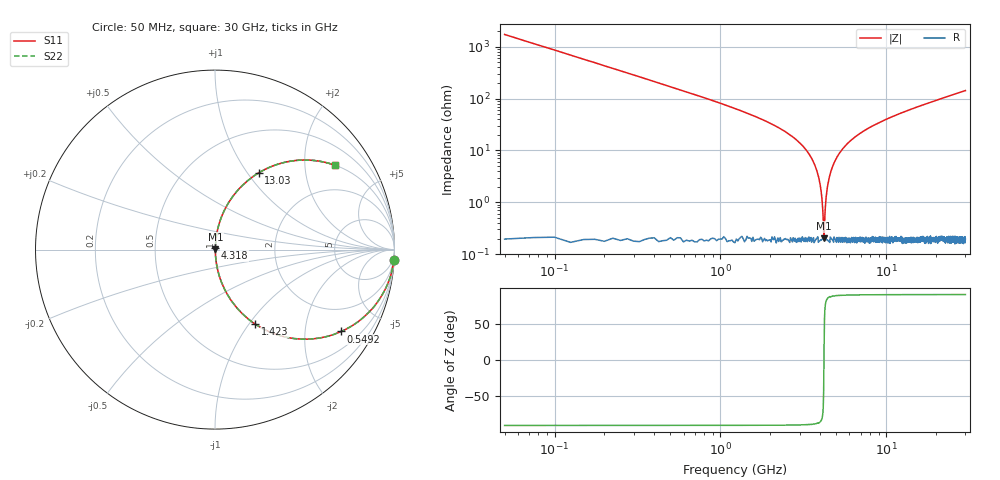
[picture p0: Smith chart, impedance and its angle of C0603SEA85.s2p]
!	AVX Thin Film Operation 	Date: April 2014
!	Description: Accu-P® Series, Thin Film  SMD RF Capacitor
!	Part Number: 06031JA85PBSTR
# MHZ S MA R 50
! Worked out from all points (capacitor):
!   1201 points, 50 MHz to 30 GHz, reference 50 ohm
!   read as one part in series: C = 1.85 pF near 199.8 MHz
!   lowest |Z| = 204 mohm at 4.218 GHz (marker M1)
!   series resonance near 4.212 GHz, so ESL is about 770 pH
!   S11 on the Smith chart (normalised r, x): 50 MHz: 1, -34; 549.2 MHz: 1.00, -3.08; 1.423 GHz: 1.00, -1.07; 4.318 GHz: 1.00, +0.02; 13.03 GHz: 1.00, +1.13; 30 GHz: 1.00, +2.85
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50  0.998 -3.3  0.058 86.7  0.058 86.7  0.998 -3.3
299.583  0.944 -19.3  0.33 70.7  0.33 70.7  0.944 -19.3
549.167  0.838 -33.0  0.544 57.0  0.544 57.0  0.838 -33.0
1422.708  0.472 -61.7  0.88 28.1  0.88 28.1  0.472 -61.7
2745.5  0.177 -79.2  0.982 10.2  0.982 10.2  0.177 -79.2
3469.292  0.079 -84.1  0.995 4.6  0.995 4.6  0.079 -84.1
3868.625  0.035 -84.9  0.997 2.0  0.997 2.0  0.035 -84.9
3993.417  0.022 -83.7  0.998 1.2  0.998 1.2  0.022 -83.7
4118.208  0.009395 -77.8  0.998 0.5  0.998 0.5  0.009395 -77.8
4218.042  0.001989 16.5  0.998 -0.0  0.998 -0.0  0.001989 16.5
4317.875  0.01 78.7  0.998 -0.6  0.998 -0.6  0.01 78.7
4442.667  0.022 83.7  0.998 -1.2  0.998 -1.2  0.022 83.7
4567.458  0.033 84.8  0.998 -1.9  0.998 -1.9  0.033 84.8
5041.667  0.074 84.3  0.995 -4.2  0.995 -4.2  0.074 84.3
5765.458  0.129 81.7  0.99 -7.4  0.99 -7.4  0.129 81.7
6763.792  0.196 78.1  0.979 -11.3  0.979 -11.3  0.196 78.1
10058.29  0.373 67.9  0.926 -21.9  0.926 -21.9  0.373 67.9
13028.33  0.492 60.4  0.869 -29.4  0.869 -29.4  0.492 60.4
15025  0.557 56.0  0.829 -33.8  0.829 -33.8  0.557 56.0
20016.67  0.679 47.1  0.732 -42.8  0.732 -42.8  0.679 47.1
25033.29  0.762 40.3  0.646 -49.7  0.646 -49.7  0.762 40.3
30000  0.818 35.0  0.574 -54.9  0.574 -54.9  0.818 35.0
